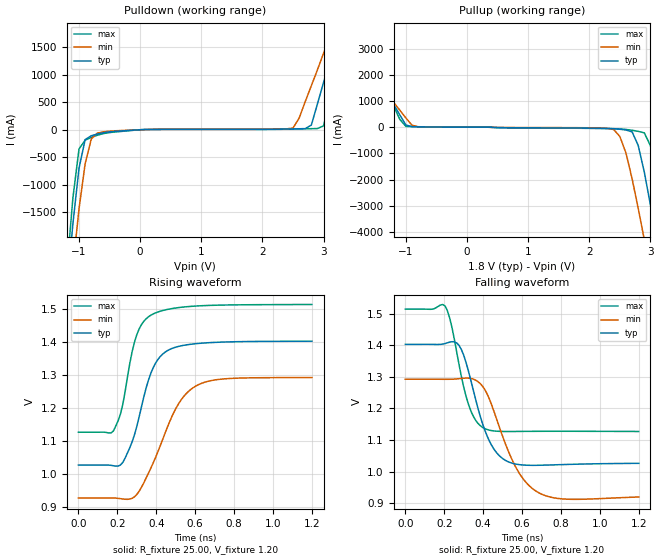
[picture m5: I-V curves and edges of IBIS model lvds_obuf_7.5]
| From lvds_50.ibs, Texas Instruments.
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|   Model lvds_obuf_7.5
[Model]   lvds_obuf_7.5
Model_type   Output
Polarity   Non-Inverting
Vmeas =   1.2000V
C_comp   4.00pF   4.00pF   4.00pF
[Temperature Range]   25.00   0.12k   -40.00
[Voltage Range]   1.80V   1.65V   1.95V
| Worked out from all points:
|   slope of the pulldown table from 0 to 0.27 V, typ, clamps not added: 39.9 ohm
|   slope of the pullup table from 0 to 0.27 V, typ, clamps not added: 20 kohm
|   rising waveform, R_fixture 25.00, V_fixture 1.20: 20-80 % time 110ps typ, 164ps min, 84.5ps max; typ from 1.03 V to 1.4 V
|   falling waveform, R_fixture 25.00, V_fixture 1.20: 20-80 % time 108ps typ, 147ps min, 83.4ps max; typ from 1.4 V to 1.03 V
[Pulldown]
| voltage   I(typ)   I(min)   I(max)
-1.8V     -11.25A    -11.52A    -11.63A
-1.2V     -2.95A     -3.66A     -2.56A
-1.1V     -1.71A     -2.5A      -1.24A
-1V       -700mA     -1.44A     -350mA
-900mV    -180mA     -620mA     -190mA
-800mV    -110mA     -170mA     -140mA
2.5V      15.21mA    31.23mA    12.27mA
2.8V      83.97mA    800mA      19.18mA
3V        860mA      1.39A      70.35mA
3.2V      1.64A      2A         1.05A
3.4V      2.44A      2.87A      2.05A
3.6V      3.26A      7.07A      3.07A
[Pullup]
| voltage   I(typ)   I(min)   I(max)
-1.8V     3.24A      3.32A      3.83A
-1.6V     2.43A      2.16A      2.81A
-1V       82.04mA    350mA      27.98mA
2.4V      -59.88mA   -91.8mA    -61.87mA
2.5V      -80.92mA   -360mA     -69.82mA
2.7V      -180mA     -1.97A     -120mA
2.9V      -1.72A     -4.3A      -220mA
3V        -2.97A     -5.54A     -710mA
3.1V      -4.31A     -6.8A      -1.88A
3.2V      -5.68A     -8.08A     -3.3A
3.3V      -7.07A     -9.38A     -4.78A
3.6V      -11.33A    -15.14A    -9.39A
[Ramp]
| variable   typ   min   max
dV/dt_r   0.42/0.12n   0.27/0.16n   0.55/99.15p
dV/dt_f   0.12/78.22p   0.12/0.11n   0.14/61.88p
R_load = 25.00
[Rising Waveform]
R_fixture = 25.00
V_fixture = 1.20
V_fixture_min = 1.10
V_fixture_max = 1.30
| time   V(typ)   V(min)   V(max)
0s        1.026V     926mV      1.126V
180ps     1.024V     926.1mV    1.13V
228ps     1.034V     923.1mV    1.21V
276ps     1.097V     925.1mV    1.37V
300ps     1.143V     936.8mV    1.422V
372ps     1.304V     1.017V     1.48V
420ps     1.355V     1.084V     1.493V
504ps     1.384V     1.201V     1.503V
600ps     1.394V     1.265V     1.508V
1.2ns     1.402V     1.291V     1.513V
[Falling Waveform]
R_fixture = 25.00
V_fixture = 1.20
V_fixture_min = 1.10
V_fixture_max = 1.30
| time   V(typ)   V(min)   V(max)
0s        1.403V     1.292V     1.514V
204ps     1.405V     1.292V     1.525V
240ps     1.411V     1.292V     1.456V
288ps     1.387V     1.295V     1.302V
348ps     1.261V     1.293V     1.177V
408ps     1.132V     1.26V      1.136V
504ps     1.04V      1.105V     1.127V
576ps     1.023V     1.005V     1.127V
660ps     1.02V      943mV      1.127V
1.2ns     1.026V     919.5mV    1.127V
